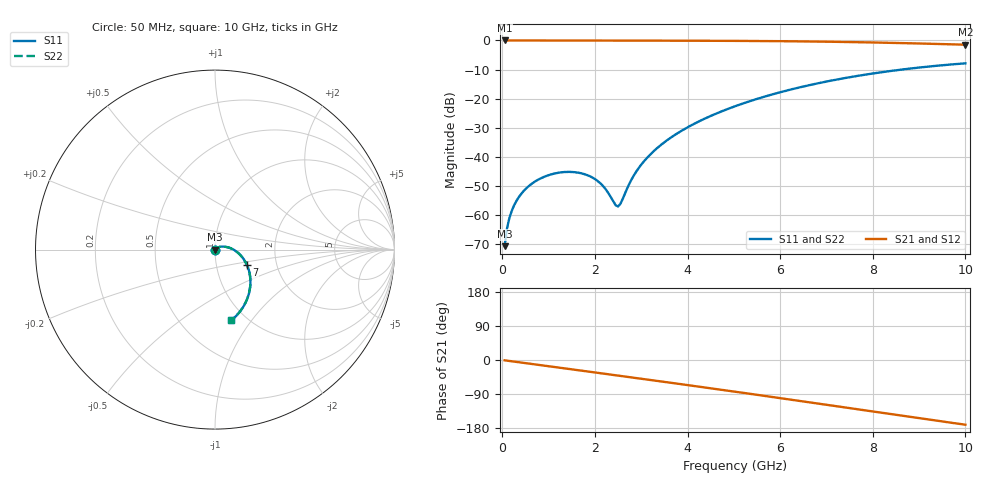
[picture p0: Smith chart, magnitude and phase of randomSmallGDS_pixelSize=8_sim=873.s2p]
! freq	dB(S11)	phase(S11)	dB(S12)	phase(S12)
!  dB(S21)	phase(S21)	dB(S22)	phase(S22)
!S-par simulation data
#  GHz  S  DB  R 50
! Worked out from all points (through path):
!   200 points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, 50 MHz to 10 GHz, reference 50 ohm
!   highest |S21| = 0.00 dB at 50 MHz (marker M1); lowest = -1.5 dB at 10 GHz (marker M2)
!   group delay of S21, straight-line fit = 47.6 ps
!   lowest |S11| = -70.7 dB at 50 MHz (marker M3), VSWR 1.00, Z = 50 - j0.0292 ohm
!   |S11| at or under -10 dB: start of sweep to 8.624 GHz
!   |S22| runs from -70.7 to -7.9 dB; largest |S21 - S12| = 0
!   S11 on the Smith chart (normalised r, x): 50 MHz: 1.00, -0.00; 7 GHz: 1.41, -0.25; 10 GHz: 0.85, -0.80
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0.05  -70.67 -85.8  -0.00 -0.8  -0.00 -0.8  -70.67 -85.8
0.1  -64.69 -89.4  -0.00 -1.7  -0.00 -1.7  -64.69 -89.3
0.2  -58.72 -92.6  -0.00 -3.3  -0.00 -3.3  -58.72 -92.6
0.35  -53.99 -96.1  -0.00 -5.8  -0.00 -5.8  -53.99 -96.1
0.55  -50.33 -100.3  -0.01 -9.1  -0.01 -9.1  -50.33 -100.3
0.8  -47.61 -105.5  -0.02 -13.2  -0.02 -13.2  -47.61 -105.4
1.15  -45.63 -112.9  -0.02 -18.9  -0.02 -18.9  -45.63 -112.8
1.75  -45.82 -127.7  -0.03 -28.7  -0.03 -28.7  -45.83 -127.4
2.15  -49.58 -145.0  -0.04 -35.3  -0.04 -35.3  -49.61 -144.4
2.45  -56.65 161.2  -0.04 -40.3  -0.04 -40.3  -56.93 162.0
2.5  -57.04 139.0  -0.04 -41.1  -0.04 -41.1  -57.38 139.1
2.55  -56.15 116.9  -0.05 -41.9  -0.05 -41.9  -56.45 116.2
2.9  -44.88 60.2  -0.05 -47.7  -0.05 -47.7  -44.91 59.5
3.1  -40.77 51.1  -0.06 -51.1  -0.06 -51.1  -40.79 50.6
3.4  -36.22 42.2  -0.06 -56.1  -0.06 -56.1  -36.23 41.8
4.1  -28.99 27.0  -0.09 -67.8  -0.09 -67.8  -29.00 26.7
5.05  -22.47 9.3  -0.15 -84.1  -0.15 -84.1  -22.47 9.1
5.85  -18.45 -5.1  -0.23 -97.9  -0.23 -97.9  -18.45 -5.2
6.7  -15.11 -20.2  -0.36 -112.9  -0.36 -112.9  -15.11 -20.3
7  -14.12 -25.5  -0.42 -118.2  -0.42 -118.2  -14.12 -25.6
8.35  -10.56 -49.2  -0.80 -142.1  -0.80 -142.1  -10.56 -49.3
10  -7.86 -77.1  -1.46 -170.8  -1.46 -170.8  -7.86 -77.2
